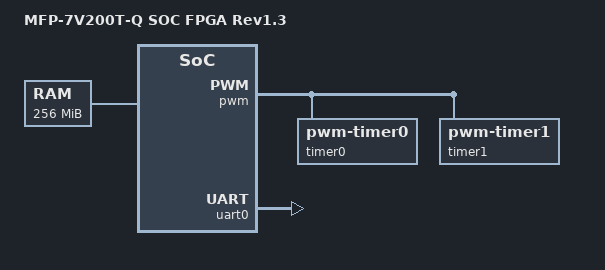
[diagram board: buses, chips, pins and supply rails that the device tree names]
/*
 *  Copyright (C) 2015 Mtekvision Corporation <www.mtekvision.com>
 *
 * This program is free software; you can redistribute it and/or modify
 * it under the terms of the GNU General Public License as published by
 * the Free Software Foundation; either version 2 of the License, or
 * (at your option) any later version.
 *
 * This program is distributed in the hope that it will be useful,
 * but WITHOUT ANY WARRANTY; without even the implied warranty of
 * MERCHANTABILITY or FITNESS FOR A PARTICULAR PURPOSE.  See the
 * GNU General Public License for more details.
 *
 * You should have received a copy of the GNU General Public License
 * along with this program.  If not, see <http://www.gnu.org/licenses/>.
 *
 * ---------------------------------------------------------------------
 * Device Tree Source for Victoria FPGA Flatform V1.0 Board
 * ---------------------------------------------------------------------
 */

/dts-v1/;
/include/ "mvt12-socfpga.dtsi"

/ {
	#address-cells = <1>;
	#size-cells = <1>;

	model = "MFP-7V200T-Q SOC FPGA Rev1.3";
	compatible = "mtekvision,socfpga-mfp7v2000tq", "mv,socfpga";

	aliases {
		mv,system-timer0 = &timer0;
		mv,system-timer1 = &timer1;
		mv,system-timer2 = &timer2;
		mv,system-timer3 = &timer3;
		mv,system-timer4 = &timer4;
		mv,system-timer5 = &timer5;
		mv,uart0 = &uart0;
		mv,uart1 = &uart1;
		mv,uart2 = &uart2;
	};

	chosen {
		bootargs = "console=/dev/ttyS0,115200n8 ramdisk_size=65556 root=/dev/ram0 rw initrd=0x01800000,16M initrd=/init init=/sbin/init";
	};

	memory {
		name = "memory";
		device_type = "memory";
		reg = <0x0 0x10000000>; /* TOTAL 512MB, but 256MB for ION heap memory */
	};

	soc {
		pwm: timer@50500000 {
			timer0: timer0 {
				status = "okay";
				compatible = "pwm-timer0";
				interrupts = <11>;
			};

			timer1: timer1 {
				status = "okay";
				compatible = "pwm-timer1";
				interrupts = <12>;
			};

			timer2: timer2 {
				status = "disabled";
				compatible = "pwm-timer2";
				interrupts = <13>;
			};

			timer3: timer3 {
				status = "disabled";
				compatible = "pwm-timer3";
				interrupts = <14>;
			};

			timer4: timer4 {
				status = "disabled";
				compatible = "pwm-timer4";
				interrupts = <15>;
			};
	
			timer5: timer5 {
				status = "disabled";
				compatible = "pwm-timer5";
				interrupts = <16>;
			};
		};

		uart0: serial0@50400000 {
			status = "okay";
			compatible = "serial-uart0";
			interrupts = <0>;
		};

		uart1: serial1@50410000 {
			status = "disabled";
			compatible = "serial-uart1";
			interrupts = <1>;
		};

		uart2: serial2@50420000 {
			status = "disabled";
			compatible = "serial-uart2";
			interrupts = <2>;
		};
	};
};
